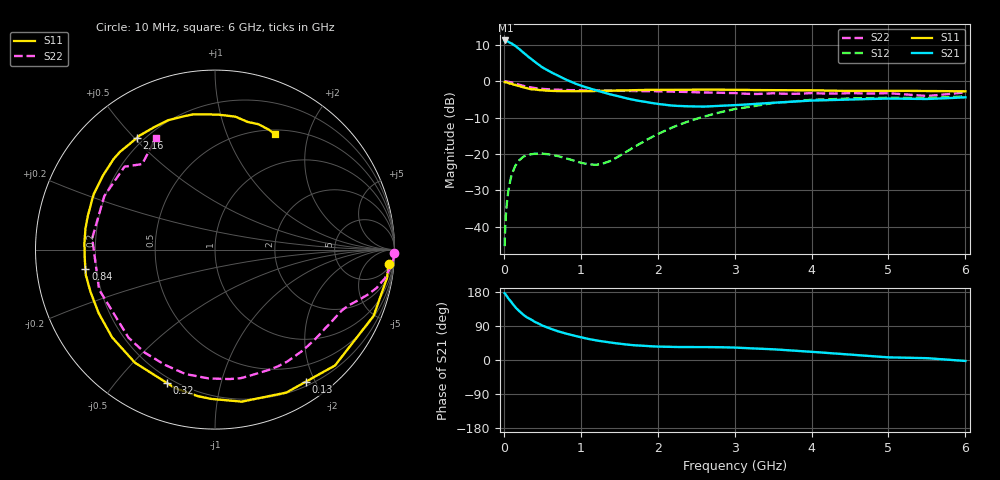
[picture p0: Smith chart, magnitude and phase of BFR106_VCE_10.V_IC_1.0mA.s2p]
! Infineon Technologies  Discrete & RF Semiconductors
! BFR106
! VCE =  10. V,  IC =  1.0 mA
! Common Emitter S-Parameters:  Nov 2015
# GHz  S  MA  R  50
!  f  S11  S21  S12  S22
! GHz  MAG  ANG  MAG  ANG  MAG  ANG  MAG  ANG
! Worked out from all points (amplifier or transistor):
!   210 points, 10 MHz to 6 GHz, reference 50 ohm
!   highest |S21| = 11.2 dB at 20 MHz (marker M1)
!   |S21| within 3 dB of that: start of sweep to 235.3 MHz
!   unconditionally stable (mu >= 1): 862.6 MHz to 1.841 GHz; 3.085 GHz to end of sweep
!   at 185 MHz: K = 0.20, MSG = 15.6 dB, |S12| = -22.2 dB
!   at 1.52 GHz: K = 1.28, MAG = 4.9 dB, |S12| = -20.3 dB
!   at 6 GHz: K = 1.02, MAG = -0.9 dB, |S12| = -4.2 dB
!   S11 on the Smith chart (normalised r, x): 10 MHz: 8, -22; 130 MHz: 0.26, -1.87; 320 MHz: 0.17, -0.69; 840 MHz: 0.16, -0.07; 2.16 GHz: 0.17, +0.51; 6 GHz: 0.55, +1.50
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0.01  0.9715 -4.7  3.607 176.3  0.0054 88.7  0.9999 -1.2
0.02  0.9711 -9.4  3.626 174.1  0.0108 82.8  0.9999 -2.2
0.055  0.9494 -24.6  3.496 163.5  0.0292 74.9  0.9836 -5.4
0.13  0.8933 -55.5  3.133 144.3  0.0616 58.8  0.939 -11.8
0.15  0.8902 -63.5  3.053 138.8  0.069 55.2  0.9256 -13.3
0.2  0.8601 -80.0  2.766 129.0  0.0818 47.5  0.8928 -16.0
0.26  0.8221 -96.7  2.441 118.4  0.0923 39.4  0.8583 -18.6
0.32  0.7898 -109.9  2.16 110.6  0.0972 33.9  0.8316 -20.6
0.4  0.772 -125.3  1.854 100.9  0.101 27.6  0.8038 -22.9
0.5  0.7535 -139.5  1.549 90.9  0.1012 22.6  0.7831 -25.8
0.7  0.7327 -161.3  1.194 76.0  0.0936 19.0  0.7633 -32.0
0.84  0.7297 -171.7  1.015 68.2  0.0852 21.0  0.7532 -36.5
1.02  0.7283 175.8  0.855 59.0  0.0749 29.1  0.7477 -42.8
1.4  0.7428 155.6  0.652 45.6  0.0812 63.8  0.7424 -57.3
2.02  0.7568 129.9  0.484 35.3  0.1911 80.4  0.7243 -84.4
2.16  0.7597 124.9  0.465 34.6  0.2237 78.8  0.7185 -91.0
3.1  0.7591 97.0  0.474 31.8  0.4285 56.0  0.6751 -139.7
3.5  0.7525 88.8  0.505 28.3  0.5005 45.5  0.683 -161.0
4.1  0.7456 80.1  0.544 20.2  0.5583 30.2  0.6797 170.7
5.1  0.7375 70.0  0.575 6.6  0.5904 11.2  0.6713 136.2
5.5  0.7327 65.9  0.569 4.8  0.5861 7.6  0.6258 130.4
6  0.7252 62.6  0.6 -2.5  0.6183 -0.7  0.7025 118.0
